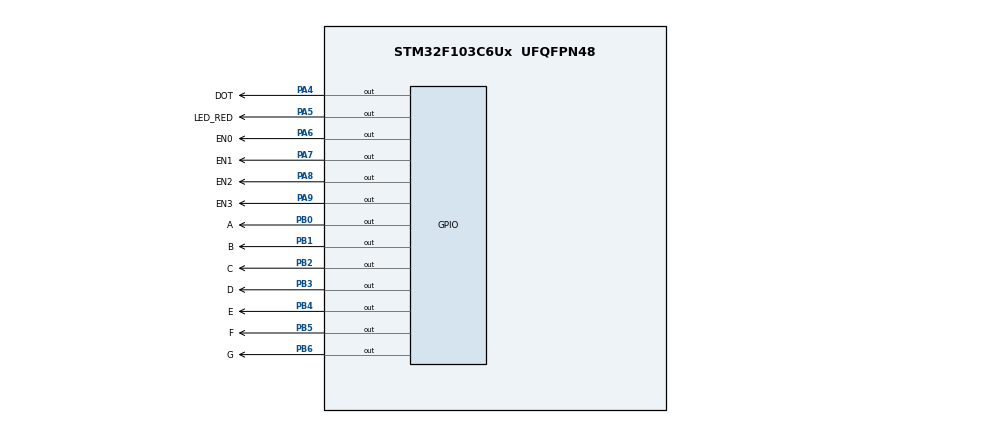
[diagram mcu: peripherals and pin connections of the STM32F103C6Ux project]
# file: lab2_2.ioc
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Mcu.Family=STM32F1
Mcu.Name=STM32F103C6Ux
Mcu.Package=UFQFPN48
NVIC.PriorityGroup=NVIC_PRIORITYGROUP_4
NVIC.TIM2_IRQn=true\:0\:0\:false\:false\:true\:true\:true
PA4.GPIO_Label=DOT
PA4.Signal=GPIO_Output
PA5.GPIO_Label=LED_RED
PA5.Signal=GPIO_Output
PA6.GPIO_Label=EN0
PA6.Signal=GPIO_Output
PA7.GPIO_Label=EN1
PA7.Signal=GPIO_Output
PA8.GPIO_Label=EN2
PA8.Signal=GPIO_Output
PA9.GPIO_Label=EN3
PA9.Signal=GPIO_Output
PB0.GPIO_Label=A
PB0.Signal=GPIO_Output
PB1.GPIO_Label=B
PB1.Signal=GPIO_Output
PB2.GPIO_Label=C
PB2.Signal=GPIO_Output
PB3.GPIO_Label=D
PB3.Signal=GPIO_Output
PB4.GPIO_Label=E
PB4.Signal=GPIO_Output
PB5.GPIO_Label=F
PB5.Signal=GPIO_Output
PB6.GPIO_Label=G
PB6.Signal=GPIO_Output
ProjectManager.HeapSize=0x200
ProjectManager.StackSize=0x400
ProjectManager.TargetToolchain=STM32CubeIDE
RCC.APB1Freq_Value=8000000
RCC.APB2Freq_Value=8000000
TIM2.Period=9
TIM2.Prescaler=7999
VP_SYS_VS_ND.Mode=No_Debug
VP_TIM2_VS_ClockSourceINT.Mode=Internal
board=custom

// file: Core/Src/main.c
/* USER CODE BEGIN Header */
/**
  ******************************************************************************
  * @file           : main.c
  * @brief          : Main program body
  ******************************************************************************
  * @attention
  *
  * <h2><center>&copy; Copyright (c) 2022 STMicroelectronics.
  * All rights reserved.</center></h2>
  *
  * This software component is licensed by ST under BSD 3-Clause license,
  * the "License"; You may not use this file except in compliance with the
  * License. You may obtain a copy of the License at:
  *                        opensource.org/licenses/BSD-3-Clause
  *
  ******************************************************************************
  */
/* USER CODE END Header */
#include "main.h"

/* USER CODE BEGIN Includes */
#include "software.h"
#include "display.h"
/* USER CODE END Includes */

TIM_HandleTypeDef htim2;

void SystemClock_Config(void);
static void MX_GPIO_Init(void);
static void MX_TIM2_Init(void);

int main(void)
{

  /* MCU Configuration--------------------------------------------------------*/

  /* Reset of all peripherals, Initializes the Flash interface and the Systick. */
  HAL_Init();

  /* Configure the system clock */
  SystemClock_Config();

  /* Initialize all configured peripherals */
  MX_GPIO_Init();
  MX_TIM2_Init();
  /* USER CODE BEGIN 2 */
  HAL_TIM_Base_Start_IT (& htim2 ) ;
  /* USER CODE END 2 */

  /* Infinite loop */
  /* USER CODE BEGIN WHILE */
  display7SEG(1);
  HAL_GPIO_WritePin(DOT_GPIO_Port, DOT_Pin, SET);
  HAL_GPIO_WritePin(EN0_GPIO_Port, EN0_Pin, RESET);
  HAL_GPIO_WritePin(EN1_GPIO_Port, EN1_Pin, SET);
  HAL_GPIO_WritePin(EN2_GPIO_Port, EN2_Pin, SET);
  HAL_GPIO_WritePin(EN3_GPIO_Port, EN3_Pin, SET);
  setTimer1(200);
  setTimer2(50);
  setTimer3(100);
  setTimer4(150);
  while (1)
  {
	  if(timer1_flag == 1){
			  setTimer1(200);
			  //TODO
			  HAL_GPIO_WritePin(DOT_GPIO_Port, DOT_Pin, RESET);
			  setTimer5(5);
			  display7SEG(1);
			  HAL_GPIO_WritePin(EN3_GPIO_Port, EN3_Pin, SET);
			  HAL_GPIO_WritePin(EN0_GPIO_Port, EN0_Pin, RESET);
		  }
	  if(timer2_flag == 1){
	  		  setTimer2(200);
	  		  //TODO
	  		  display7SEG(2);
	  		  HAL_GPIO_WritePin(EN0_GPIO_Port, EN0_Pin, SET);
	  		  HAL_GPIO_WritePin(EN1_GPIO_Port, EN1_Pin, RESET);
	  	  }
	  if(timer3_flag == 1){
	  		  setTimer3(200);
	  		  //TODO
	  		  HAL_GPIO_WritePin(DOT_GPIO_Port, DOT_Pin, RESET);
	  		  setTimer5(5);
	  		  display7SEG(3);
	  		  HAL_GPIO_WritePin(EN1_GPIO_Port, EN1_Pin, SET);
	  		  HAL_GPIO_WritePin(EN2_GPIO_Port, EN2_Pin, RESET);
	  	  }
	  if(timer4_flag == 1){
	  		  setTimer4(200);
	  		  //TODO
	  		  display7SEG(0);
	  		  HAL_GPIO_WritePin(EN2_GPIO_Port, EN2_Pin, SET);
	  		  HAL_GPIO_WritePin(EN3_GPIO_Port, EN3_Pin, RESET);
	  	  }
	  if(timer5_flag == 1){
		  HAL_GPIO_WritePin(DOT_GPIO_Port, DOT_Pin, SET);
	  }
    /* USER CODE END WHILE */

  }
}

void SystemClock_Config(void)
{
  RCC_OscInitTypeDef RCC_OscInitStruct = {0};
  RCC_ClkInitTypeDef RCC_ClkInitStruct = {0};

  /** Initializes the RCC Oscillators according to the specified parameters
  * in the RCC_OscInitTypeDef structure.
  */
  RCC_OscInitStruct.OscillatorType = RCC_OSCILLATORTYPE_HSI;
  RCC_OscInitStruct.HSIState = RCC_HSI_ON;
  RCC_OscInitStruct.HSICalibrationValue = RCC_HSICALIBRATION_DEFAULT;
  RCC_OscInitStruct.PLL.PLLState = RCC_PLL_NONE;
  if (HAL_RCC_OscConfig(&RCC_OscInitStruct) != HAL_OK)
  {
    Error_Handler();
  }
  /** Initializes the CPU, AHB and APB buses clocks
  */
  RCC_ClkInitStruct.ClockType = RCC_CLOCKTYPE_HCLK|RCC_CLOCKTYPE_SYSCLK
                              |RCC_CLOCKTYPE_PCLK1|RCC_CLOCKTYPE_PCLK2;
  RCC_ClkInitStruct.SYSCLKSource = RCC_SYSCLKSOURCE_HSI;
  RCC_ClkInitStruct.AHBCLKDivider = RCC_SYSCLK_DIV1;
  RCC_ClkInitStruct.APB1CLKDivider = RCC_HCLK_DIV1;
  RCC_ClkInitStruct.APB2CLKDivider = RCC_HCLK_DIV1;

  if (HAL_RCC_ClockConfig(&RCC_ClkInitStruct, FLASH_LATENCY_0) != HAL_OK)
  {
    Error_Handler();
  }
}

static void MX_TIM2_Init(void)
{

  TIM_ClockConfigTypeDef sClockSourceConfig = {0};
  TIM_MasterConfigTypeDef sMasterConfig = {0};

  htim2.Instance = TIM2;
  htim2.Init.Prescaler = 7999;
  htim2.Init.CounterMode = TIM_COUNTERMODE_UP;
  htim2.Init.Period = 9;
  htim2.Init.ClockDivision = TIM_CLOCKDIVISION_DIV1;
  htim2.Init.AutoReloadPreload = TIM_AUTORELOAD_PRELOAD_DISABLE;
  if (HAL_TIM_Base_Init(&htim2) != HAL_OK)
  {
    Error_Handler();
  }
  sClockSourceConfig.ClockSource = TIM_CLOCKSOURCE_INTERNAL;
  if (HAL_TIM_ConfigClockSource(&htim2, &sClockSourceConfig) != HAL_OK)
  {
    Error_Handler();
  }
  sMasterConfig.MasterOutputTrigger = TIM_TRGO_RESET;
  sMasterConfig.MasterSlaveMode = TIM_MASTERSLAVEMODE_DISABLE;
  if (HAL_TIMEx_MasterConfigSynchronization(&htim2, &sMasterConfig) != HAL_OK)
  {
    Error_Handler();
  }

}

static void MX_GPIO_Init(void)
{
  GPIO_InitTypeDef GPIO_InitStruct = {0};

  /* GPIO Ports Clock Enable */
  __HAL_RCC_GPIOA_CLK_ENABLE();
  __HAL_RCC_GPIOB_CLK_ENABLE();

  /*Configure GPIO pin Output Level */
  HAL_GPIO_WritePin(GPIOA, DOT_Pin|LED_RED_Pin|EN0_Pin|EN1_Pin
                          |EN2_Pin|EN3_Pin, GPIO_PIN_RESET);

  /*Configure GPIO pin Output Level */
  HAL_GPIO_WritePin(GPIOB, A_Pin|B_Pin|C_Pin|D_Pin
                          |E_Pin|F_Pin|G_Pin, GPIO_PIN_RESET);

  /*Configure GPIO pins : DOT_Pin LED_RED_Pin EN0_Pin EN1_Pin
                           EN2_Pin EN3_Pin */
  GPIO_InitStruct.Pin = DOT_Pin|LED_RED_Pin|EN0_Pin|EN1_Pin
                          |EN2_Pin|EN3_Pin;
  GPIO_InitStruct.Mode = GPIO_MODE_OUTPUT_PP;
  GPIO_InitStruct.Pull = GPIO_NOPULL;
  GPIO_InitStruct.Speed = GPIO_SPEED_FREQ_LOW;
  HAL_GPIO_Init(GPIOA, &GPIO_InitStruct);

  /*Configure GPIO pins : A_Pin B_Pin C_Pin D_Pin
                           E_Pin F_Pin G_Pin */
  GPIO_InitStruct.Pin = A_Pin|B_Pin|C_Pin|D_Pin
                          |E_Pin|F_Pin|G_Pin;
  GPIO_InitStruct.Mode = GPIO_MODE_OUTPUT_PP;
  GPIO_InitStruct.Pull = GPIO_NOPULL;
  GPIO_InitStruct.Speed = GPIO_SPEED_FREQ_LOW;
  HAL_GPIO_Init(GPIOB, &GPIO_InitStruct);

}

/* USER CODE BEGIN 4 */
void HAL_TIM_PeriodElapsedCallback ( TIM_HandleTypeDef * htim )
{
	timerRun();

}
/* USER CODE END 4 */

void Error_Handler(void)
{
  __disable_irq();
  while (1)
  {
  }
}

/************************ (C) COPYRIGHT STMicroelectronics *****END OF FILE****/
